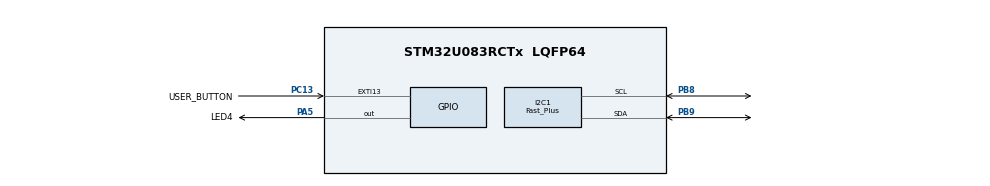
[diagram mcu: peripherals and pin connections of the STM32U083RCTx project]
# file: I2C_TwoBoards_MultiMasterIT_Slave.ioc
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I2C1.I2C_Fall_Time=2
I2C1.I2C_Rise_Time=26
I2C1.I2C_Speed_Mode=I2C_Fast_Plus
I2C1.OwnAddress=I2C_ADDRESS
I2C1.Timing=0x0030081C
Mcu.Family=STM32U0
Mcu.Name=STM32U083RCTx
Mcu.Package=LQFP64
Mcu.UserConstants=I2C_ADDRESS,0x30
NVIC.I2C1_IRQn=true\:0\:0\:false\:false\:true\:true\:true\:true
NVIC.PriorityGroup=NVIC_PRIORITYGROUP_2
PA5.GPIO_Label=LED4
PA5.Signal=GPIO_Output
PB8.GPIO_Pu=GPIO_PULLUP
PB8.GPIO_Speed=GPIO_SPEED_FREQ_HIGH
PB8.Mode=I2C
PB8.Signal=I2C1_SCL
PB9.GPIO_Pu=GPIO_PULLUP
PB9.GPIO_Speed=GPIO_SPEED_FREQ_HIGH
PB9.Mode=I2C
PB9.Signal=I2C1_SDA
PC13.GPIO_Label=USER_BUTTON
PC13.GPIO_ModeDefaultEXTI=GPIO_MODE_IT_FALLING
PC13.GPIO_PuPd=GPIO_PULLUP
PC13.Signal=GPXTI13
ProjectManager.HeapSize=0x200
ProjectManager.StackSize=0x400
ProjectManager.TargetToolchain=EWARM V9.20
RCC.ADCFreq_Value=48000000
RCC.AHBFreq_Value=48000000
RCC.CortexFreq_Value=48000000
RCC.HCLKFreq_Value=48000000
RCC.HSE_VALUE=4000000
RCC.HSI48_VALUE=48000000
RCC.HSI_VALUE=16000000
RCC.LSE_VALUE=32768
RCC.MSIClockRangeVal=RCC_MSIRANGE_11
RCC.MSI_VALUE=48000000
RCC.PLLSourceVirtual=RCC_PLLSOURCE_MSI
RCC.SYSCLKFreq_VALUE=48000000
RCC.SYSCLKSource=RCC_SYSCLKSOURCE_MSI
RCC.USBFreq_Value=48000000
RCC.VCOOutputFreq_Value=192000000
VP_PWR_VS_SECSignals.Mode=Security/Privilege
board=custom

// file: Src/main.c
/* USER CODE BEGIN Header */
/**
  ******************************************************************************
  * @file    I2C/I2C_TwoBoards_MultiMasterIT_Slave/Src/main.c
  * @author  MCD Application Team
  * @brief   This sample code shows how to use STM32U0xx I2C LL API to
  *          manage a Communication between two Masters and one Slave
  *          based on Interrupt procedure.
  ******************************************************************************
  * @attention
  *
  * Copyright (c) 2024 STMicroelectronics.
  * All rights reserved.
  *
  * This software is licensed under terms that can be found in the LICENSE file
  * in the root directory of this software component.
  * If no LICENSE file comes with this software, it is provided AS-IS.
  *
  ******************************************************************************
  */
/* USER CODE END Header */
#include "main.h"

/* USER CODE BEGIN PV */
uint8_t aRxBuffer;
__IO uint32_t nbMst1RxCplt = 0;
__IO uint32_t nbMst2RxCplt = 0;
/* USER CODE END PV */

void SystemClock_Config(void);
static void MX_GPIO_Init(void);
static void MX_I2C1_Init(void);
/* USER CODE BEGIN PFP */
void LED_On(void);
void LED_Off(void);
void LED_Toggle(void);
void LED_Blinking(uint32_t Period);
/* USER CODE END PFP */

int main(void)
{

  /* MCU Configuration--------------------------------------------------------*/

  /* Reset of all peripherals, Initializes the Flash interface and the Systick. */
  LL_APB1_GRP1_EnableClock(LL_APB1_GRP1_PERIPH_PWR);
  LL_APB1_GRP2_EnableClock(LL_APB1_GRP2_PERIPH_SYSCFG);

  /* System interrupt init*/
  NVIC_SetPriorityGrouping(NVIC_PRIORITYGROUP_2);

  /* SysTick_IRQn interrupt configuration */
  NVIC_SetPriority(SysTick_IRQn, NVIC_EncodePriority(NVIC_GetPriorityGrouping(),3, 0));

  /* Configure the system clock */
  SystemClock_Config();

  /* Initialize all configured peripherals */
  MX_GPIO_Init();
  MX_I2C1_Init();

  /* Infinite loop */
  while (1)
  {

  }
}

void SystemClock_Config(void)
{
  LL_FLASH_SetLatency(LL_FLASH_LATENCY_1);
  while(LL_FLASH_GetLatency() != LL_FLASH_LATENCY_1)
  {
  }

  LL_PWR_SetRegulVoltageScaling(LL_PWR_REGU_VOLTAGE_SCALE1);
  while (LL_PWR_IsActiveFlag_VOS() != 0)
  {
  }
  LL_RCC_MSI_Enable();

   /* Wait till MSI is ready */
  while(LL_RCC_MSI_IsReady() != 1)
  {
  }

  LL_RCC_MSI_EnableRangeSelection();
  LL_RCC_MSI_SetRange(LL_RCC_MSIRANGE_11);
  LL_RCC_SetSysClkSource(LL_RCC_SYS_CLKSOURCE_MSI);

   /* Wait till System clock is ready */
  while(LL_RCC_GetSysClkSource() != LL_RCC_SYS_CLKSOURCE_STATUS_MSI)
  {
  }

  LL_RCC_SetAHBPrescaler(LL_RCC_SYSCLK_DIV_1);
  LL_RCC_SetAPB1Prescaler(LL_RCC_APB1_DIV_1);

  LL_Init1msTick(48000000);

  LL_SetSystemCoreClock(48000000);
}

static void MX_I2C1_Init(void)
{

  LL_I2C_InitTypeDef I2C_InitStruct = {0};

  LL_GPIO_InitTypeDef GPIO_InitStruct = {0};

  LL_RCC_SetI2CClockSource(LL_RCC_I2C1_CLKSOURCE_PCLK1);

  LL_IOP_GRP1_EnableClock(LL_IOP_GRP1_PERIPH_GPIOB);
  /**I2C1 GPIO Configuration
  PB8   ------> I2C1_SCL
  PB9   ------> I2C1_SDA
  */
  GPIO_InitStruct.Pin = LL_GPIO_PIN_8|LL_GPIO_PIN_9;
  GPIO_InitStruct.Mode = LL_GPIO_MODE_ALTERNATE;
  GPIO_InitStruct.Speed = LL_GPIO_SPEED_FREQ_HIGH;
  GPIO_InitStruct.OutputType = LL_GPIO_OUTPUT_OPENDRAIN;
  GPIO_InitStruct.Pull = LL_GPIO_PULL_UP;
  GPIO_InitStruct.Alternate = LL_GPIO_AF_4;
  LL_GPIO_Init(GPIOB, &GPIO_InitStruct);

  /* Peripheral clock enable */
  LL_APB1_GRP1_EnableClock(LL_APB1_GRP1_PERIPH_I2C1);

  /* I2C1 interrupt Init */
  NVIC_SetPriority(I2C1_IRQn, NVIC_EncodePriority(NVIC_GetPriorityGrouping(),0, 0));
  NVIC_EnableIRQ(I2C1_IRQn);

  /** I2C Initialization
  */
  LL_I2C_EnableAutoEndMode(I2C1);
  LL_I2C_DisableOwnAddress2(I2C1);
  LL_I2C_DisableGeneralCall(I2C1);
  LL_I2C_EnableClockStretching(I2C1);
  I2C_InitStruct.Timing = 0x0030081C;
  I2C_InitStruct.AnalogFilter = LL_I2C_ANALOGFILTER_ENABLE;
  I2C_InitStruct.DigitalFilter = 0;
  I2C_InitStruct.OwnAddress1 = I2C_ADDRESS;
  I2C_InitStruct.TypeAcknowledge = LL_I2C_ACK;
  I2C_InitStruct.OwnAddrSize = LL_I2C_OWNADDRESS1_7BIT;
  LL_I2C_Init(I2C1, &I2C_InitStruct);
  LL_I2C_SetOwnAddress2(I2C1, 0, LL_I2C_OWNADDRESS2_NOMASK);

  /** I2C Fast mode Plus enable
  */
  LL_I2C_EnableFastModePlus(I2C1);
  /* USER CODE BEGIN I2C1_Init 2 */
  LL_I2C_EnableIT_ADDR(I2C1);
  LL_I2C_EnableIT_NACK(I2C1);
  LL_I2C_EnableIT_ERR(I2C1);
  LL_I2C_EnableIT_STOP(I2C1);
  /* USER CODE END I2C1_Init 2 */

}

static void MX_GPIO_Init(void)
{
  LL_EXTI_InitTypeDef EXTI_InitStruct = {0};
  LL_GPIO_InitTypeDef GPIO_InitStruct = {0};

  /* GPIO Ports Clock Enable */
  LL_IOP_GRP1_EnableClock(LL_IOP_GRP1_PERIPH_GPIOC);
  LL_IOP_GRP1_EnableClock(LL_IOP_GRP1_PERIPH_GPIOA);
  LL_IOP_GRP1_EnableClock(LL_IOP_GRP1_PERIPH_GPIOB);

  /**/
  LL_GPIO_ResetOutputPin(LED4_GPIO_Port, LED4_Pin);

  /**/
  LL_EXTI_SetEXTISource(LL_EXTI_CONFIG_PORTC, LL_EXTI_CONFIG_LINE13);

  /**/
  EXTI_InitStruct.Line_0_31 = LL_EXTI_LINE_13;
  EXTI_InitStruct.LineCommand = ENABLE;
  EXTI_InitStruct.Mode = LL_EXTI_MODE_IT;
  EXTI_InitStruct.Trigger = LL_EXTI_TRIGGER_FALLING;
  LL_EXTI_Init(&EXTI_InitStruct);

  /**/
  LL_GPIO_SetPinPull(USER_BUTTON_GPIO_Port, USER_BUTTON_Pin, LL_GPIO_PULL_UP);

  /**/
  LL_GPIO_SetPinMode(USER_BUTTON_GPIO_Port, USER_BUTTON_Pin, LL_GPIO_MODE_INPUT);

  /**/
  GPIO_InitStruct.Pin = LED4_Pin;
  GPIO_InitStruct.Mode = LL_GPIO_MODE_OUTPUT;
  GPIO_InitStruct.Speed = LL_GPIO_SPEED_FREQ_LOW;
  GPIO_InitStruct.OutputType = LL_GPIO_OUTPUT_PUSHPULL;
  GPIO_InitStruct.Pull = LL_GPIO_PULL_NO;
  LL_GPIO_Init(LED4_GPIO_Port, &GPIO_InitStruct);

}

/* USER CODE BEGIN 4 */
/**
  * @brief  Function called from I2C IRQ Handler when RXNE flag is set
  *         Function is in charge of reading byte received on I2C lines.
  * @param  None
  * @retval None
  */
void Slave_Reception_Callback(void)
{
  /* Read character in Receive Data register.
  RXNE flag is cleared by reading data in RXDR register */
  aRxBuffer = LL_I2C_ReceiveData8(I2C1);
}

/**
  * @brief  Function called from I2C IRQ Handler when STOP flag is set
  *         Function is in charge of checking data received,
  *         LED4 is On if data are correct.
  * @param  None
  * @retval None
  */
void Slave_Complete_Callback(void)
{
  /* Read Received character.
  RXNE flag is cleared by reading of RXDR register */

  /* Check if byte received is from Master 1 */
  if(aRxBuffer == 0xA5)
  {
    nbMst1RxCplt++;
  }
  /* Check if byte received is from Master 2 */
  else if(aRxBuffer == 0xB5)
  {
    nbMst2RxCplt++;
  }

  /* Toggle LED4 everytime a transfer is done */
  LED_Toggle();
}

/* LED functions */
/**
  * @brief  Turn-on LED4.
  * @param  None
  * @retval None
  */
void LED_On(void)
{
  /* Turn LED4 on */
  LL_GPIO_SetOutputPin(LED4_GPIO_Port, LED4_Pin);
}

/**
  * @brief  Turn-off LED4.
  * @param  None
  * @retval None
  */
void LED_Off(void)
{
  /* Turn LED4 off */
  LL_GPIO_ResetOutputPin(LED4_GPIO_Port, LED4_Pin);
}

/**
  * @brief  Toggle LED4.
  * @param  None
  * @retval None
  */
void LED_Toggle(void)
{
  /* Turn LED4 on */
  LL_GPIO_TogglePin(LED4_GPIO_Port, LED4_Pin);
}

/**
  * @brief  Set LED4 to Blinking mode for an infinite loop (toggle period based on value provided as input parameter).
  * @param  Period : Period of time (in ms) between each toggling of LED
  *   This parameter can be user defined values. Pre-defined values used in that example are :
  *     @arg LED_BLINK_FAST : Fast Blinking
  *     @arg LED_BLINK_SLOW : Slow Blinking
  *     @arg LED_BLINK_ERROR : Error specific Blinking
  * @retval None
  */
void LED_Blinking(uint32_t Period)
{
  /* Turn LED4 on */
  LED_On();

  /* Toggle IO in an infinite loop */
  while (1)
  {
    LED_Toggle();
    LL_mDelay(Period);
  }
}

/* USER CODE END 4 */

void Error_Handler(void)
{
  /* USER CODE BEGIN Error_Handler_Debug */
  /* User can add his own implementation to report the HAL error return state */
  __disable_irq();
  while (1)
  {
    /* Unexpected event : Set LED4 to Blinking mode to indicate error occurs */
    LED_Blinking(LED_BLINK_ERROR);
  }
  /* USER CODE END Error_Handler_Debug */
}
